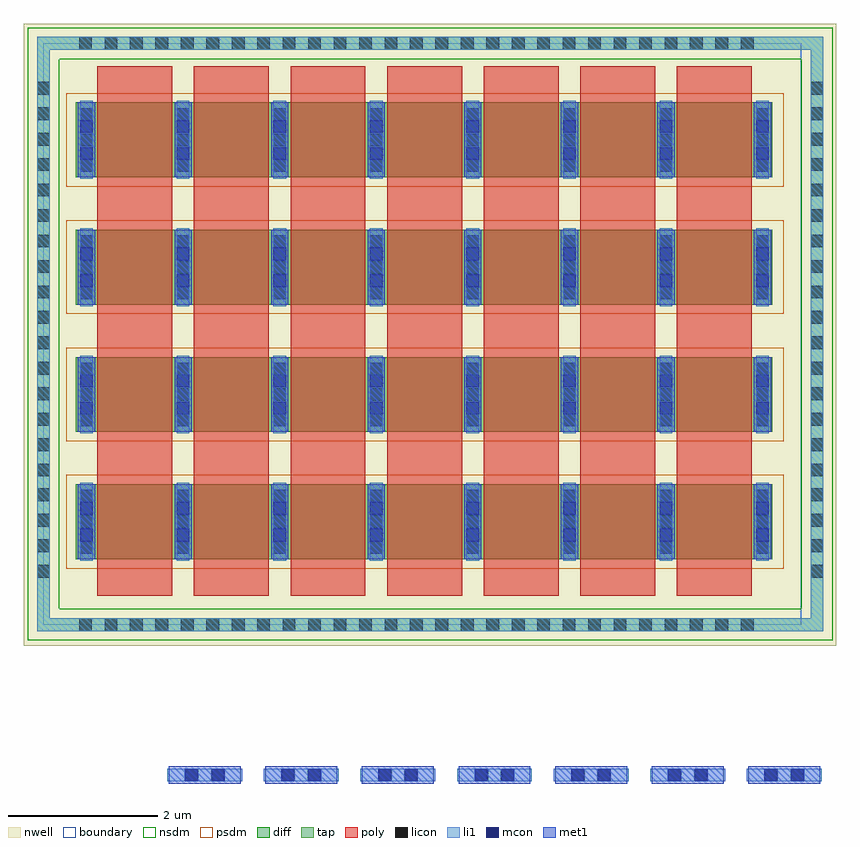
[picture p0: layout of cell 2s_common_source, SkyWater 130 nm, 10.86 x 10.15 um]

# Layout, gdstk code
import gdstk
lib = gdstk.Library(unit=1e-6, precision=1e-09)
def R(c, l, rs):  # rectangles x0, y0, x1, y1
    for r in rs: c.add(gdstk.rectangle(r[:2], r[2:], *l))
def A(c, l, x, y, w, h, nx, ny, dx, dy):  # array of equal rectangles
    R(c, l, [(x+i*dx, y+j*dy, x+i*dx+w, y+j*dy+h) for i in range(nx) for j in range(ny)])
nwell = (64, 20)
diff = (65, 20)
tap = (65, 44)
poly = (66, 20)
licon = (66, 44)
li1 = (67, 20)
mcon = (67, 44)
met1 = (68, 20)
nsdm = (93, 44)
psdm = (94, 20)
boundary = (235, 4)

sky130_fd_pr_pfet_01v8 = lib.new_cell('sky130_fd_pr_pfet_01v8')
R(sky130_fd_pr_pfet_01v8, diff, [(-5.475,-0.915,-3.91,0.085)])
R(sky130_fd_pr_pfet_01v8, poly, [(-5.185,-1.4,-4.185,0.57)])
A(sky130_fd_pr_pfet_01v8, licon, -5.415, -0.84, 0.17, 0.17, 1, 3, 0, 0.34)
A(sky130_fd_pr_pfet_01v8, licon, -4.125, -0.84, 0.17, 0.17, 1, 3, 0, 0.34)
R(sky130_fd_pr_pfet_01v8, li1, [(-5.415,-0.935,-5.245,0.105), (-4.125,-0.935,-3.955,0.105)])
R(sky130_fd_pr_pfet_01v8, mcon, [(-5.415,-0.68,-5.245,-0.51), (-4.125,-0.68,-3.955,-0.51), (-5.415,-0.32,-5.245,-0.15), (-4.125,-0.32,-3.955,-0.15)])
R(sky130_fd_pr_pfet_01v8, met1, [(-5.445,-0.915,-5.215,0.085), (-4.155,-0.915,-3.925,0.085)])
R(sky130_fd_pr_pfet_01v8, psdm, [(-5.6,-1.04,-3.755,0.21)])

gate_conn = lib.new_cell('gate_conn')
R(gate_conn, licon, [(-371.266,-30.231,-371.096,-30.061), (-371.266,-30.231,-371.096,-30.061), (-370.926,-30.231,-370.756,-30.061), (-370.926,-30.231,-370.756,-30.061)])
R(gate_conn, li1, [(-371.511,-30.231,-370.511,-30.061), (-371.511,-30.231,-370.511,-30.061)])
R(gate_conn, mcon, [(-371.276,-30.231,-371.106,-30.061), (-371.276,-30.231,-371.106,-30.061), (-370.916,-30.231,-370.746,-30.061), (-370.916,-30.231,-370.746,-30.061)])
R(gate_conn, met1, [(-371.491,-30.261,-370.531,-30.031), (-371.491,-30.261,-370.531,-30.031)])

c_2s_common_source = lib.new_cell('2s_common_source')
R(c_2s_common_source, nwell, [(-9.36,9.63,1.495,17.94)])
R(c_2s_common_source, tap, [(-9.18,9.825,-9.01,17.76), (-9.01,9.825,1.32,9.995), (1.15,9.995,1.32,17.76), (-9.01,17.59,1.15,17.76)])
A(c_2s_common_source, licon, -8.62, 9.825, 0.17, 0.17, 27, 2, 0.34, 7.765)
A(c_2s_common_source, licon, -9.18, 10.54, 0.17, 0.17, 1, 4, 0, 0.34)
A(c_2s_common_source, licon, 1.15, 10.54, 0.17, 0.17, 1, 4, 0, 0.34)
A(c_2s_common_source, licon, -9.18, 11.89, 0.17, 0.17, 1, 16, 0, 0.34)
A(c_2s_common_source, licon, 1.15, 11.89, 0.17, 0.17, 1, 16, 0, 0.34)
R(c_2s_common_source, li1, [(-9.18,9.825,-9.01,17.76), (-9.01,9.825,1.32,9.995), (1.15,9.995,1.32,17.76), (-9.01,17.59,1.15,17.76)])
R(c_2s_common_source, nsdm, [(-9.305,9.7,-8.885,17.885), (-8.885,9.7,1.445,10.12), (1.025,10.12,1.445,17.885), (-8.885,17.465,1.025,17.885)])
R(c_2s_common_source, boundary, [(-9.095,9.91,1.025,17.675)])
r = gdstk.Reference(sky130_fd_pr_pfet_01v8, (-3.19,11.7)); r.repetition = gdstk.Repetition(7, 4, v1=(1.29,0), v2=(0,1.7)); c_2s_common_source.add(r)
r = gdstk.Reference(gate_conn, (364.07,38.05)); r.repetition = gdstk.Repetition(7, 1, v1=(1.29,0), v2=(0,0)); c_2s_common_source.add(r)

lib.write_gds('2s_common_source.gds')
